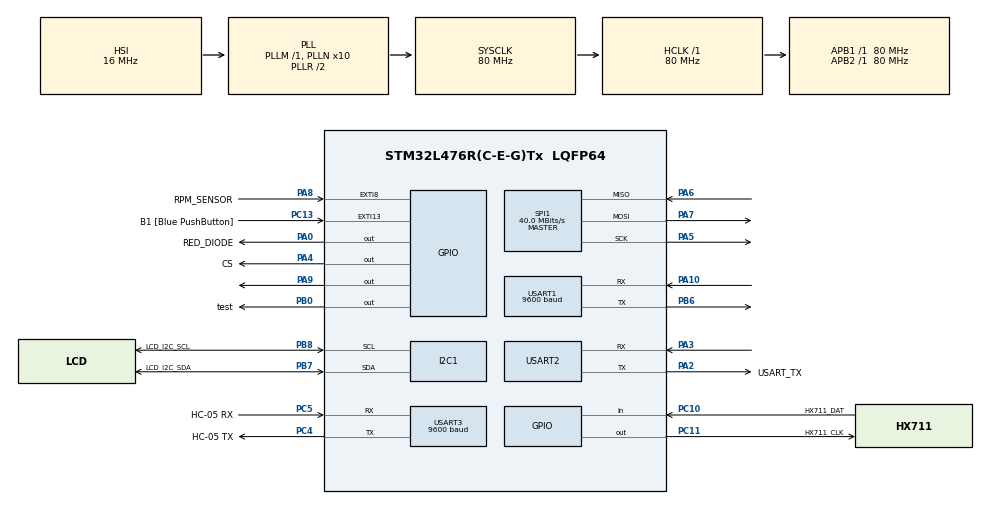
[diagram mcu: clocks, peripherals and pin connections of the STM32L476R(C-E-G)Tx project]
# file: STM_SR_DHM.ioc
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FATFS._MAX_SS=4096
FATFS._USE_LFN=1
I2C1.Timing=0x10909CEC
Mcu.Family=STM32L4
Mcu.Name=STM32L476R(C-E-G)Tx
Mcu.Package=LQFP64
NVIC.EXTI9_5_IRQn=true\:0\:0\:false\:false\:true\:true\:true
NVIC.PriorityGroup=NVIC_PRIORITYGROUP_4
NVIC.TIM1_UP_TIM16_IRQn=true\:0\:0\:false\:false\:true\:true\:true
NVIC.USART1_IRQn=true\:0\:0\:false\:false\:true\:true\:true
NVIC.USART2_IRQn=true\:0\:0\:false\:false\:true\:true\:true
PA0.GPIO_Label=RED_DIODE
PA0.GPIO_ModeDefaultOutputPP=GPIO_MODE_OUTPUT_PP
PA0.GPIO_PuPd=GPIO_PULLDOWN
PA0.Signal=GPIO_Output
PA10.Mode=Asynchronous
PA10.Signal=USART1_RX
PA13\ (JTMS-SWDIO).GPIO_Label=TMS
PA13\ (JTMS-SWDIO).Mode=Trace_Asynchronous_SW
PA13\ (JTMS-SWDIO).Signal=SYS_JTMS-SWDIO
PA14\ (JTCK-SWCLK).GPIO_Label=TCK
PA14\ (JTCK-SWCLK).Mode=Trace_Asynchronous_SW
PA14\ (JTCK-SWCLK).Signal=SYS_JTCK-SWCLK
PA2.GPIO_Label=USART_TX
PA2.GPIO_Mode=GPIO_MODE_AF_PP
PA2.GPIO_PuPd=GPIO_NOPULL
PA2.GPIO_Speed=GPIO_SPEED_FREQ_VERY_HIGH
PA2.Mode=Asynchronous
PA2.Signal=USART2_TX
PA3.Mode=Asynchronous
PA3.Signal=USART2_RX
PA4.GPIO_Label=CS
PA4.Signal=GPIO_Output
PA5.Mode=Full_Duplex_Master
PA5.Signal=SPI1_SCK
PA6.Mode=Full_Duplex_Master
PA6.Signal=SPI1_MISO
PA7.Mode=Full_Duplex_Master
PA7.Signal=SPI1_MOSI
PA8.GPIO_Label=RPM_SENSOR
PA8.GPIO_ModeDefaultEXTI=GPIO_MODE_IT_FALLING
PA8.Signal=GPXTI8
PA9.Signal=GPIO_Output
PB0.GPIO_Label=test
PB0.Signal=GPIO_Output
PB3\ (JTDO-TRACESWO).GPIO_Label=SWO
PB3\ (JTDO-TRACESWO).Mode=Trace_Asynchronous_SW
PB3\ (JTDO-TRACESWO).Signal=SYS_JTDO-SWO
PB6.Mode=Asynchronous
PB6.Signal=USART1_TX
PB7.GPIO_Label=LCD_I2C_SDA
PB7.Mode=I2C
PB7.Signal=I2C1_SDA
PB8.GPIO_Label=LCD_I2C_SCL
PB8.Mode=I2C
PB8.Signal=I2C1_SCL
PC10.GPIO_Label=HX711_DAT
PC10.Signal=GPIO_Input
PC11.GPIO_Label=HX711_CLK
PC11.Signal=GPIO_Output
PC13.GPIO_Label=B1 [Blue PushButton]
PC13.GPIO_ModeDefaultEXTI=GPIO_MODE_IT_FALLING
PC13.GPIO_PuPd=GPIO_NOPULL
PC13.Signal=GPXTI13
PC14-OSC32_IN\ (PC14).Mode=LSE-External-Oscillator
PC14-OSC32_IN\ (PC14).Signal=RCC_OSC32_IN
PC15-OSC32_OUT\ (PC15).Mode=LSE-External-Oscillator
PC15-OSC32_OUT\ (PC15).Signal=RCC_OSC32_OUT
PC4.GPIO_Label=HC-05 TX
PC4.Mode=Asynchronous
PC4.Signal=USART3_TX
PC5.GPIO_Label=HC-05 RX
PC5.Mode=Asynchronous
PC5.Signal=USART3_RX
PH0-OSC_IN\ (PH0).Signal=RCC_OSC_IN
PH1-OSC_OUT\ (PH1).Signal=RCC_OSC_OUT
ProjectManager.HeapSize=0x200
ProjectManager.StackSize=0x400
ProjectManager.TargetToolchain=STM32CubeIDE
RCC.ADCFreq_Value=64000000
RCC.AHBFreq_Value=80000000
RCC.APB1Freq_Value=80000000
RCC.APB1TimFreq_Value=80000000
RCC.APB2Freq_Value=80000000
RCC.APB2TimFreq_Value=80000000
RCC.CortexFreq_Value=80000000
RCC.HCLKFreq_Value=80000000
RCC.HSE_VALUE=8000000
RCC.HSI_VALUE=16000000
RCC.MSI_VALUE=4000000
RCC.PLLN=10
RCC.PLLSourceVirtual=RCC_PLLSOURCE_HSI
RCC.PREFETCH_ENABLE=1
RCC.SYSCLKFreq_VALUE=80000000
RCC.SYSCLKSource=RCC_SYSCLKSOURCE_PLLCLK
RCC.USBFreq_Value=64000000
RCC.VCOOutputFreq_Value=160000000
SPI1.CalculateBaudRate=40.0 MBits/s
SPI1.Direction=SPI_DIRECTION_2LINES
SPI1.Mode=SPI_MODE_MASTER
SPI1.VirtualType=VM_MASTER
TIM1.Period=65000
TIM1.Prescaler=79
TIM16.Period=65535
TIM16.Prescaler=7999
USART1.BaudRate=9600
USART1.VirtualMode-Asynchronous=VM_ASYNC
USART2.VirtualMode-Asynchronous=VM_ASYNC
USART3.BaudRate=9600
USART3.VirtualMode-Asynchronous=VM_ASYNC
VP_FATFS_VS_Generic.Mode=User_defined
VP_RTC_VS_RTC_Activate.Mode=RTC_Enabled
VP_TIM16_VS_ClockSourceINT.Mode=Enable_Timer
VP_TIM1_VS_ClockSourceINT.Mode=Internal
VP_TIM6_VS_ClockSourceINT.Mode=Enable_Timer
board=NUCLEO-L476RG

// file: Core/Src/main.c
/* USER CODE BEGIN Header */
/**
  ******************************************************************************
  * @file           : main.c
  * @brief          : Main program body
  ******************************************************************************
  * @attention
  *
  * <h2><center>&copy; Copyright (c) 2023 STMicroelectronics.
  * All rights reserved.</center></h2>
  *
  * This software component is licensed by ST under BSD 3-Clause license,
  * the "License"; You may not use this file except in compliance with the
  * License. You may obtain a copy of the License at:
  *                        opensource.org/licenses/BSD-3-Clause
  *
  ******************************************************************************
  */
/* USER CODE END Header */
#include "main.h"
#include "fatfs.h"
#include "i2c.h"
#include "rtc.h"
#include "spi.h"
#include "tim.h"
#include "usart.h"
#include "gpio.h"

/* USER CODE BEGIN Includes */
#include "stdio.h"
#include "hx711.h"
#include "ds18b20.h"
#define BUFFER_LEN  1
/* USER CODE END Includes */

/* USER CODE BEGIN PV */
volatile uint32_t lastCapture = 0;
volatile uint32_t capturedBuffer[2] = {0};
volatile uint8_t bufferIndex = 0;
volatile uint32_t compensation = 0;
UART_HandleTypeDef huart1;
uint8_t RX_BUFFER[BUFFER_LEN] = {0};
/* USER CODE END PV */

void SystemClock_Config(void);
/* USER CODE BEGIN PFP */
uint32_t measure_RPM(); // if data from sensor is available return RPM value
/* USER CODE END PFP */

/* USER CODE BEGIN 0 */
UART_HandleTypeDef huart3;
UART_HandleTypeDef huart2;
int _write(int file, char *ptr, int len)
{
	for(int i = 0; i < len; i++)
	{
		ITM_SendChar(*ptr++);
	}
	return len;
}

void HAL_GPIO_EXTI_Callback(uint16_t GPIO_Pin)
{
  if (GPIO_Pin == RPM_SENSOR_Pin)
  {
	  uint32_t now = TIM16->CNT; // Get current timer count + compensation
	  uint32_t tmp_compensation = compensation;
	  compensation = 0; // zero compensation value
	  uint32_t delta = now + tmp_compensation - lastCapture; // Calculate time difference
	  lastCapture = now;
	  capturedBuffer[bufferIndex] = delta; // Store time difference in buffer
	  bufferIndex = (bufferIndex + 1) % 2; // Wrap buffer index
  }
}

void HAL_TIM_PeriodElapsedCallback(TIM_HandleTypeDef *htim)
{
	if (htim == &htim16)
	{
		compensation += 0xFFFF; // compensate for timer overflow
	}
}
void HAL_UART_RxCpltCallback(UART_HandleTypeDef *huart)
{
    if(huart->Instance == huart1.Instance)
    {
    HAL_UART_Receive_IT(&huart1, RX_BUFFER, BUFFER_LEN);
    }
}
/* USER CODE END 0 */

int main(void)
{

  /* MCU Configuration--------------------------------------------------------*/

  /* Reset of all peripherals, Initializes the Flash interface and the Systick. */
  HAL_Init();

  /* Configure the system clock */
  SystemClock_Config();

  /* Initialize all configured peripherals */
  MX_GPIO_Init();
  MX_USART2_UART_Init();
  MX_I2C1_Init();
  MX_SPI1_Init();
  MX_USART3_UART_Init();
  MX_FATFS_Init();
  MX_RTC_Init();
  MX_TIM6_Init();
  MX_TIM16_Init();
  MX_TIM1_Init();
  MX_USART1_UART_Init();
  /* USER CODE BEGIN 2 */
  hx711_t loadcell = {0};
  uint32_t rpm;
  float weight;
  hx711_init(&loadcell, HX711_CLK_GPIO_Port, HX711_CLK_Pin, HX711_DAT_GPIO_Port, HX711_DAT_Pin);
  //hx711_coef_set(&loadcell, 354.5); // read after calibration
  //hx711_tare(&loadcell, 10);
  loadcell.coef = 1;
  loadcell.offset = 0;
  HAL_TIM_Base_Start_IT(&htim16);
  HAL_GPIO_WritePin(RED_DIODE_GPIO_Port, RED_DIODE_Pin, GPIO_PIN_RESET);

  float temperature;
  DS18B20_Init(DS18B20_Resolution_12bits);
  char uart_buf[32];

  HAL_UART_Receive_IT(&huart1, RX_BUFFER, BUFFER_LEN);

  /* USER CODE END 2 */

  /* Infinite loop */
  /* USER CODE BEGIN WHILE */
  while (1)
  {
	  /*if(HAL_GPIO_ReadPin(RPM_SENSOR_GPIO_Port, RPM_SENSOR_Pin) == GPIO_PIN_RESET)
		  HAL_GPIO_WritePin(RED_DIODE_GPIO_Port, RED_DIODE_Pin, GPIO_PIN_SET);
	  else
		  HAL_GPIO_WritePin(RED_DIODE_GPIO_Port, RED_DIODE_Pin, GPIO_PIN_RESET);*/
	  rpm = measure_RPM();
	  if(rpm > 0) printf("RPM value: %lu\n", rpm);
	  weight = hx711_weight(&loadcell, 1);
	  printf("Weight value : %f\n", weight);

	  	  	DS18B20_ReadAll();
	    	DS18B20_StartAll();
	    	uint8_t ROM_tmp[8];
	    	uint8_t i;
	  for(i = 0; i < DS18B20_Quantity(); i++)
	    	{
	    		if(DS18B20_GetTemperature(i, &temperature))
	    		{
	    			DS18B20_GetROM(i, ROM_tmp);
	    					sprintf(uart_buf, "Temperature: %.2f\r\n", temperature);
	    			        HAL_UART_Transmit(&huart2, (uint8_t*)uart_buf, strlen(uart_buf), 100);
	    			        HAL_UART_Transmit(&huart1, (uint8_t*)uart_buf, strlen(uart_buf), 100);

	    		}
	    	}
	  if(RX_BUFFER[0] == '1')
	  	          {
		  	  	  HAL_GPIO_WritePin(test_GPIO_Port, test_Pin, 1);
	  	          }
	  	          else if(RX_BUFFER[0] == '0')
	  	          {

	  	        	HAL_GPIO_WritePin(test_GPIO_Port, test_Pin, 0);
	  	          }
	  //HAL_Delay(500);

    /* USER CODE END WHILE */

  }
}

void SystemClock_Config(void)
{
  RCC_OscInitTypeDef RCC_OscInitStruct = {0};
  RCC_ClkInitTypeDef RCC_ClkInitStruct = {0};
  RCC_PeriphCLKInitTypeDef PeriphClkInit = {0};

  /** Initializes the RCC Oscillators according to the specified parameters
  * in the RCC_OscInitTypeDef structure.
  */
  RCC_OscInitStruct.OscillatorType = RCC_OSCILLATORTYPE_HSI|RCC_OSCILLATORTYPE_LSI;
  RCC_OscInitStruct.HSIState = RCC_HSI_ON;
  RCC_OscInitStruct.HSICalibrationValue = RCC_HSICALIBRATION_DEFAULT;
  RCC_OscInitStruct.LSIState = RCC_LSI_ON;
  RCC_OscInitStruct.PLL.PLLState = RCC_PLL_ON;
  RCC_OscInitStruct.PLL.PLLSource = RCC_PLLSOURCE_HSI;
  RCC_OscInitStruct.PLL.PLLM = 1;
  RCC_OscInitStruct.PLL.PLLN = 10;
  RCC_OscInitStruct.PLL.PLLP = RCC_PLLP_DIV7;
  RCC_OscInitStruct.PLL.PLLQ = RCC_PLLQ_DIV2;
  RCC_OscInitStruct.PLL.PLLR = RCC_PLLR_DIV2;
  if (HAL_RCC_OscConfig(&RCC_OscInitStruct) != HAL_OK)
  {
    Error_Handler();
  }
  /** Initializes the CPU, AHB and APB buses clocks
  */
  RCC_ClkInitStruct.ClockType = RCC_CLOCKTYPE_HCLK|RCC_CLOCKTYPE_SYSCLK
                              |RCC_CLOCKTYPE_PCLK1|RCC_CLOCKTYPE_PCLK2;
  RCC_ClkInitStruct.SYSCLKSource = RCC_SYSCLKSOURCE_PLLCLK;
  RCC_ClkInitStruct.AHBCLKDivider = RCC_SYSCLK_DIV1;
  RCC_ClkInitStruct.APB1CLKDivider = RCC_HCLK_DIV1;
  RCC_ClkInitStruct.APB2CLKDivider = RCC_HCLK_DIV1;

  if (HAL_RCC_ClockConfig(&RCC_ClkInitStruct, FLASH_LATENCY_4) != HAL_OK)
  {
    Error_Handler();
  }
  PeriphClkInit.PeriphClockSelection = RCC_PERIPHCLK_RTC|RCC_PERIPHCLK_USART1
                              |RCC_PERIPHCLK_USART2|RCC_PERIPHCLK_USART3
                              |RCC_PERIPHCLK_I2C1;
  PeriphClkInit.Usart1ClockSelection = RCC_USART1CLKSOURCE_PCLK2;
  PeriphClkInit.Usart2ClockSelection = RCC_USART2CLKSOURCE_PCLK1;
  PeriphClkInit.Usart3ClockSelection = RCC_USART3CLKSOURCE_PCLK1;
  PeriphClkInit.I2c1ClockSelection = RCC_I2C1CLKSOURCE_PCLK1;
  PeriphClkInit.RTCClockSelection = RCC_RTCCLKSOURCE_LSI;
  if (HAL_RCCEx_PeriphCLKConfig(&PeriphClkInit) != HAL_OK)
  {
    Error_Handler();
  }
  /** Configure the main internal regulator output voltage
  */
  if (HAL_PWREx_ControlVoltageScaling(PWR_REGULATOR_VOLTAGE_SCALE1) != HAL_OK)
  {
    Error_Handler();
  }
}

/* USER CODE BEGIN 4 */
uint32_t measure_RPM(){
	uint32_t delta1 = capturedBuffer[0];
	uint32_t delta2 = capturedBuffer[1];
	if (delta1 > 0 && delta2 > 0) {
		uint32_t delta = delta1 + delta2;
		float frequency = 1.0f / (delta / 2.0f / 10000.0f ); // Calculate frequency in Hz
		uint32_t rpm = frequency * 60.0f; // Calculate RPM
		capturedBuffer[0] = 0;
		capturedBuffer[1] = 0;
		return rpm;
	}
	else return 0;
}
/* USER CODE END 4 */

void Error_Handler(void)
{
}

/************************ (C) COPYRIGHT STMicroelectronics *****END OF FILE****/
